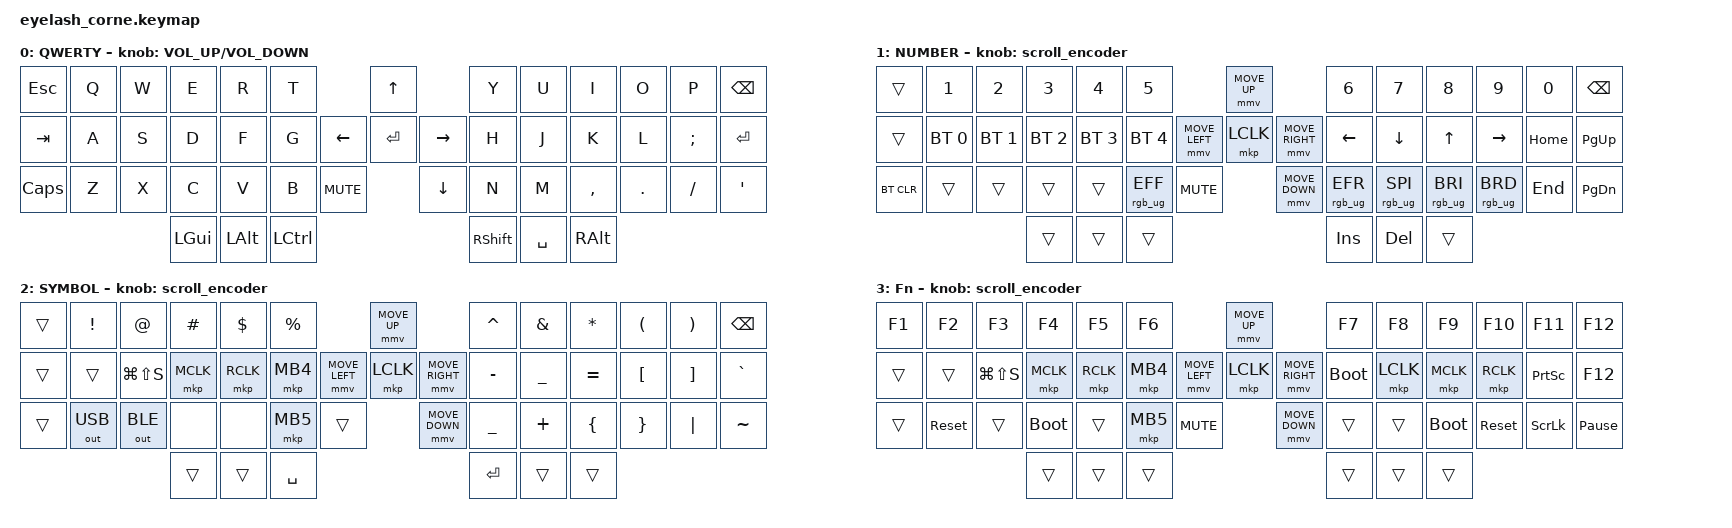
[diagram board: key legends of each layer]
#define ZMK_POINTING_DEFAULT_MOVE_VAL 1200  // 600
#define ZMK_POINTING_DEFAULT_SCRL_VAL 25   // 10

#include <input/processors.dtsi>
#include <zephyr/dt-bindings/input/input-event-codes.h>
#include <behaviors.dtsi>
#include <dt-bindings/zmk/bt.h>
#include <dt-bindings/zmk/keys.h>
#include <dt-bindings/zmk/outputs.h>
#include <dt-bindings/zmk/pointing.h>
#include <dt-bindings/zmk/rgb.h>

&mmv_input_listener { input-processors = <&zip_xy_scaler 2 1>; };

&msc_input_listener { input-processors = <&zip_scroll_scaler 2 1>; };

&msc {
    acceleration-exponent = <1>;      // 0
    time-to-max-speed-ms = <100>;       // 300
    delay-ms = <0>;                   // 0
};

&mmv {
    time-to-max-speed-ms = <500>;
    acceleration-exponent = <1>;
    trigger-period-ms = <16>;
};

/ {
    behaviors {
        td0: td0 {
            compatible = "zmk,behavior-tap-dance";
            display-name = "Shift/Caps Lock Tap Dance";
            #binding-cells = <0>;
            bindings = <&kp TAB>, <&kp CAPS>;
        };

        new_behavior: new_behavior {
            compatible = "zmk,behavior-tap-dance";
            label = "NEW_BEHAVIOR";
            #binding-cells = <0>;
            bindings = <&tog 0>, <&tog 2>;
        };
    };

    rgb_encoder: rgb_encoder {
        compatible = "zmk,behavior-sensor-rotate";
        #sensor-binding-cells = <0>;
        bindings = <&rgb_ug RGB_BRI>, <&rgb_ug RGB_BRD>;
    };

    scroll_encoder: scroll_encoder {
        compatible = "zmk,behavior-sensor-rotate";
        #sensor-binding-cells = <0>;
        bindings = <&msc SCRL_DOWN>, <&msc SCRL_UP>;

        tap-ms = <100>;
    };

    combos {
        compatible = "zmk,combos";

        layer {
            bindings = <&mo 3>;
            key-positions = <45 23>;
        };

        two {
            bindings = <&mo 2>;
            key-positions = <17 44>;
        };

        delete {
            bindings = <&kp DELETE>;
            key-positions = <29 30>;
        };

        q {
            bindings = <&mo 1>;
            key-positions = <44 45>;
        };
    };

    keymap {
        compatible = "zmk,keymap";

        default_layer {
            display-name = "QWERTY";
            bindings = <
&kp ESC   &kp Q  &kp W  &kp E     &kp R         &kp T                                     &kp UP                &kp Y            &kp U      &kp I          &kp O    &kp P     &kp BSPC
&kp TAB   &kp A  &kp S  &kp D     &kp F         &kp G                           &kp LEFT  &kp ENTER  &kp RIGHT  &kp H            &kp J      &kp K          &kp L    &kp SEMI  &kp ENTER
&kp CAPS  &kp Z  &kp X  &kp C     &kp V         &kp B             &kp K_MUTE              &kp DOWN              &kp N            &kp M      &kp COMMA      &kp DOT  &kp FSLH  &kp SQT
                        &kp LGUI  &kp LEFT_ALT  &kp LEFT_CONTROL                                                &kp RIGHT_SHIFT  &kp SPACE  &kp RIGHT_ALT
            >;

            sensor-bindings = <&inc_dec_kp C_VOLUME_UP C_VOLUME_DOWN>;
        };

        lower_layer {
            display-name = "NUMBER";
            bindings = <
&trans      &kp N1        &kp N2        &kp N3        &kp N4        &kp N5                                         &mmv MOVE_UP                     &kp N6           &kp N7           &kp N8           &kp N9           &kp N0    &kp BSPC
&trans      &bt BT_SEL 0  &bt BT_SEL 1  &bt BT_SEL 2  &bt BT_SEL 3  &bt BT_SEL 4                   &mmv MOVE_LEFT  &mkp LCLK       &mmv MOVE_RIGHT  &kp LEFT         &kp DOWN         &kp UP           &kp RIGHT        &kp HOME  &kp PG_UP
&bt BT_CLR  &trans        &trans        &trans        &trans        &rgb_ug RGB_EFF  &kp C_MUTE                    &mmv MOVE_DOWN                   &rgb_ug RGB_EFR  &rgb_ug RGB_SPI  &rgb_ug RGB_BRI  &rgb_ug RGB_BRD  &kp END   &kp PG_DN
                                        &trans        &trans        &trans                                                                          &kp INS          &kp DEL          &trans
            >;

            sensor-bindings = <&scroll_encoder>;
        };

        raise_layer {
            display-name = "SYMBOL";
            bindings = <
&trans  &kp EXCL      &kp AT         &kp HASH   &kp DLLR   &kp PRCNT                            &mmv MOVE_UP                     &kp CARET  &kp AMPS   &kp ASTRK  &kp LPAR          &kp RPAR           &kp BSPC
&trans  &trans        &kp LG(LS(S))  &mkp MCLK  &mkp RCLK  &mkp MB4             &mmv MOVE_LEFT  &mkp LCLK       &mmv MOVE_RIGHT  &kp MINUS  &kp UNDER  &kp EQUAL  &kp LEFT_BRACKET  &kp RIGHT_BRACKET  &kp GRAVE
&trans  &out OUT_USB  &out OUT_BLE   &none      &none      &mkp MB5   &trans                    &mmv MOVE_DOWN                   &kp UNDER  &kp PLUS   &kp LBRC   &kp RBRC          &kp PIPE           &kp TILDE
                                     &trans     &trans     &kp SPACE                                                             &kp RET    &trans     &trans
            >;

            sensor-bindings = <&scroll_encoder>;
        };

        layer_3 {
            display-name = "Fn";
            bindings = <
&kp F1  &kp F2      &kp F3         &kp F4       &kp F5     &kp F6                                  &mmv MOVE_UP                     &kp F7       &kp F8     &kp F9       &kp F10     &kp F11          &kp F12
&trans  &trans      &kp LG(LS(S))  &mkp MCLK    &mkp RCLK  &mkp MB4                &mmv MOVE_LEFT  &mkp LCLK       &mmv MOVE_RIGHT  &bootloader  &mkp LCLK  &mkp MCLK    &mkp RCLK   &kp PRINTSCREEN  &kp F12
&trans  &sys_reset  &trans         &bootloader  &trans     &mkp MB5  &kp C_MUTE                    &mmv MOVE_DOWN                   &trans       &trans     &bootloader  &sys_reset  &kp SCROLLLOCK   &kp PAUSE_BREAK
                                   &trans       &trans     &trans                                                                   &trans       &trans     &trans
            >;

            sensor-bindings = <&scroll_encoder>;
        };
    };
};
